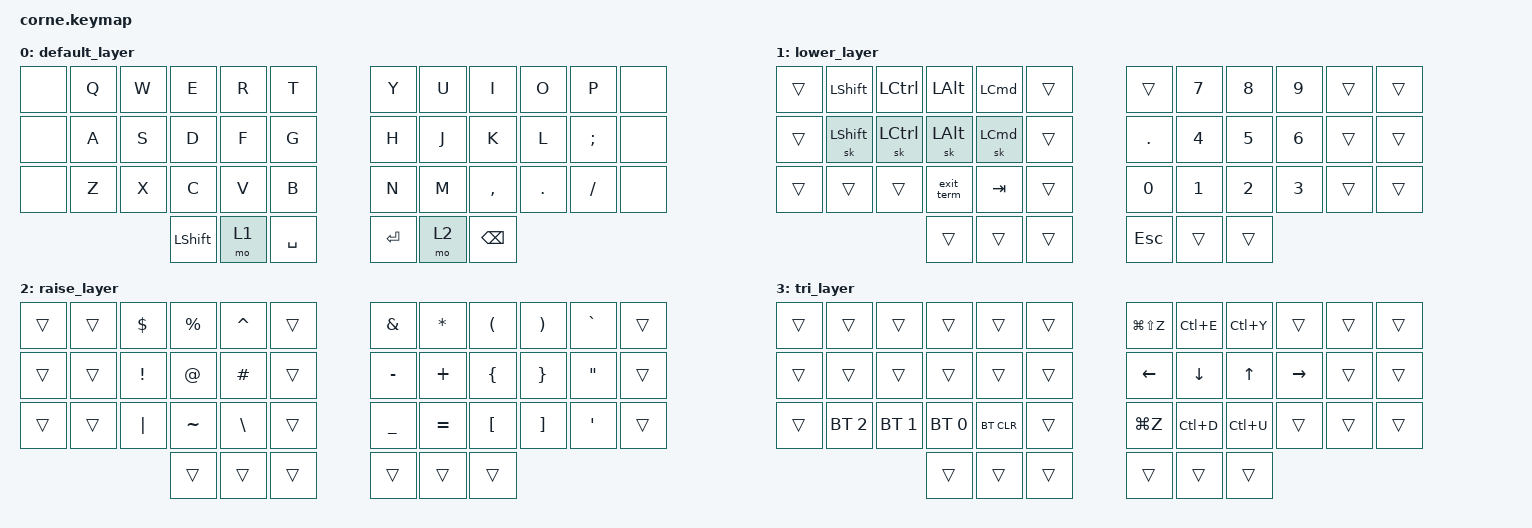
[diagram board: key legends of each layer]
/*
 * Copyright (c) 2020 The ZMK Contributors
 *
 * SPDX-License-Identifier: MIT
 */

#include <behaviors.dtsi>
#include <dt-bindings/zmk/bt.h>
#include <dt-bindings/zmk/keys.h>

/ {
    macros {
        exit_term: exit_term {
            compatible = "zmk,behavior-macro";
            #binding-cells = <0>;
            bindings = <&kp LC(BACKSLASH) &kp LC(N)>;
            label = "EXIT_TERM";
        };
    };

    behaviors {
        custom_sk: custom_sk {
            compatible = "zmk,behavior-hold-tap";
            label = "CUSTOM_SK";
            bindings = <&kp>, <&sk>;

            #binding-cells = <2>;
            tapping-term-ms = <1000>;
            flavor = "balanced";
        };
    };

    keymap {
        compatible = "zmk,keymap";

        default_layer {
            // -----------------------------------------------------------------------------------------
            // |  TAB |  Q  |  W  |  E  |  R  |  T  |   |  Y  |  U   |  I  |  O  |  P  | BKSP |
            // | CTRL |  A  |  S  |  D  |  F  |  G  |   |  H  |  J   |  K  |  L  |  ;  |  '   |
            // | SHFT |  Z  |  X  |  C  |  V  |  B  |   |  N  |  M   |  ,  |  .  |  /  | ESC  |
            //                    | GUI | LWR | SPC |   | ENT | RSE  | ALT |

            bindings = <
&none  &kp Q  &kp W  &kp E           &kp R  &kp T        &kp Y    &kp U  &kp I          &kp O    &kp P     &none
&none  &kp A  &kp S  &kp D           &kp F  &kp G        &kp H    &kp J  &kp K          &kp L    &kp SEMI  &none
&none  &kp Z  &kp X  &kp C           &kp V  &kp B        &kp N    &kp M  &kp COMMA      &kp DOT  &kp FSLH  &none
                     &kp LEFT_SHIFT  &mo 1  &kp SPACE    &kp RET  &mo 2  &kp BACKSPACE
            >;
        };

        lower_layer {
            // -----------------------------------------------------------------------------------------
            // |  TAB |  1  |  2  |  3  |  4  |  5  |   |  6  |  7  |  8  |  9  |  0  | BKSP |
            // | BTCLR| BT1 | BT2 | BT3 | BT4 | BT5 |   | LFT | DWN |  UP | RGT |     |      |
            // | SHFT |     |     |     |     |     |   |     |     |     |     |     |      |
            //                    | GUI |     | SPC |   | ENT |     | ALT |

            bindings = <
&trans  &kp LEFT_SHIFT  &kp LEFT_CONTROL  &kp LEFT_ALT  &kp LEFT_COMMAND  &trans    &trans        &kp NUMBER_7  &kp NUMBER_8  &kp N9        &trans  &trans
&trans  &sk LEFT_SHIFT  &sk LEFT_CONTROL  &sk LEFT_ALT  &sk LEFT_COMMAND  &trans    &kp DOT       &kp NUMBER_4  &kp NUMBER_5  &kp NUMBER_6  &trans  &trans
&trans  &trans          &trans            &exit_term    &kp TAB           &trans    &kp NUMBER_0  &kp NUMBER_1  &kp NUMBER_2  &kp NUMBER_3  &trans  &trans
                                          &trans        &trans            &trans    &kp ESCAPE    &trans        &trans
            >;
        };

        raise_layer {
            // -----------------------------------------------------------------------------------------
            // |  TAB |  !  |  @  |  #  |  $  |  %  |   |  ^  |  &  |  *  |  (  |  )  | BKSP |
            // | CTRL |     |     |     |     |     |   |  -  |  =  |  [  |  ]  |  \  |  `   |
            // | SHFT |     |     |     |     |     |   |  _  |  +  |  {  |  }  | "|" |  ~   |
            //                    | GUI |     | SPC |   | ENT |     | ALT |

            bindings = <
&trans  &trans  &kp DOLLAR       &kp PERCENT  &kp CARET      &trans    &kp AMPERSAND   &kp ASTERISK  &kp LEFT_PARENTHESIS  &kp RIGHT_PARENTHESIS  &kp GRAVE          &trans
&trans  &trans  &kp EXCLAMATION  &kp AT_SIGN  &kp HASH       &trans    &kp MINUS       &kp PLUS      &kp LEFT_BRACE        &kp RIGHT_BRACE        &kp DOUBLE_QUOTES  &trans
&trans  &trans  &kp PIPE         &kp TILDE    &kp BACKSLASH  &trans    &kp UNDERSCORE  &kp EQUAL     &kp LEFT_BRACKET      &kp RIGHT_BRACKET      &kp SINGLE_QUOTE   &trans
                                 &trans       &trans         &trans    &trans          &trans        &trans
            >;
        };

        tri_layer {
            bindings = <
&trans  &trans        &trans        &trans        &trans      &trans    &kp LG(LS(Z))   &kp LC(E)       &kp LC(Y)     &trans     &trans  &trans
&trans  &trans        &trans        &trans        &trans      &trans    &kp LEFT_ARROW  &kp DOWN_ARROW  &kp UP_ARROW  &kp RIGHT  &trans  &trans
&trans  &bt BT_SEL 2  &bt BT_SEL 1  &bt BT_SEL 0  &bt BT_CLR  &trans    &kp LG(Z)       &kp LC(D)       &kp LC(U)     &trans     &trans  &trans
                                    &trans        &trans      &trans    &trans          &trans          &trans
            >;
        };
    };

    conditional_layers {
        compatible = "zmk,conditional-layers";

        tri {
            if-layers = <1 2>;
            then-layer = <3>;
        };
    };
};
